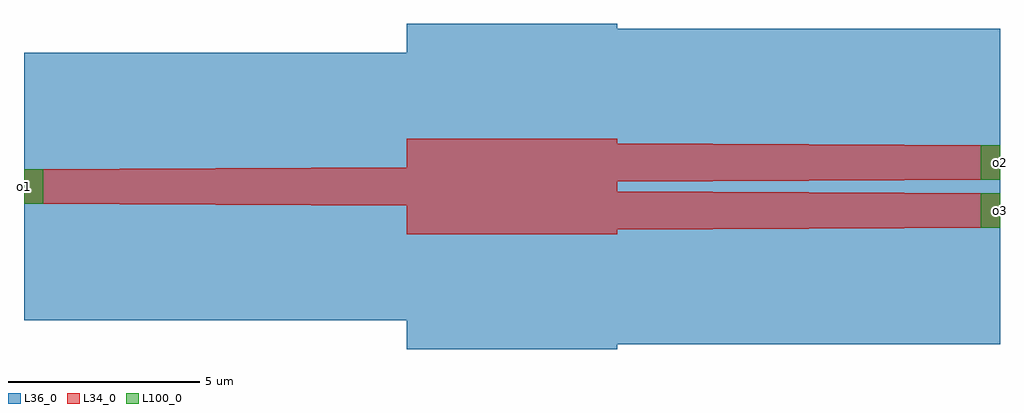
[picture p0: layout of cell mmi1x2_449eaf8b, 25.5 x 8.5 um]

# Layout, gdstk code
import gdstk
lib = gdstk.Library(unit=1e-6, precision=1e-09)
def R(c, l, rs):  # rectangles x0, y0, x1, y1
    for r in rs: c.add(gdstk.rectangle(r[:2], r[2:], *l))
def P(c, l, *ps):  # polygons
    for p in ps: c.add(gdstk.Polygon(p, *l))
L34_0 = (34, 0)
L36_0 = (36, 0)
L100_0 = (100, 0)

mmi1x2_449eaf8b = lib.new_cell('mmi1x2_449eaf8b')
R(mmi1x2_449eaf8b, L34_0, [(0,-1.25,5.5,1.25)])
P(mmi1x2_449eaf8b, L34_0, [(-10,0.45),(0,0.5),(0,-0.5),(-10,-0.45)],
  [(15.5,0.175),(5.5,0.125),(5.5,1.125),(15.5,1.075)],
  [(15.5,-1.075),(5.5,-1.125),(5.5,-0.125),(15.5,-0.175)])
R(mmi1x2_449eaf8b, L36_0, [(0,-4.25,5.5,4.25), (5.5,-4.125,15.5,2.875), (-10,-3.5,0,3.5), (5.5,-2.875,15.5,4.125)])
R(mmi1x2_449eaf8b, L100_0, [(15,-1.075,15.5,-0.175), (-10,-0.45,-9.5,0.45), (15,0.175,15.5,1.075)])
mmi1x2_449eaf8b.add(gdstk.Label('o1', (-10,0), layer=100, texttype=0))
mmi1x2_449eaf8b.add(gdstk.Label('o2', (15.5,0.625), layer=100, texttype=0))
mmi1x2_449eaf8b.add(gdstk.Label('o3', (15.5,-0.625), layer=100, texttype=0))

lib.write_gds('mmi1x2_449eaf8b.gds')
